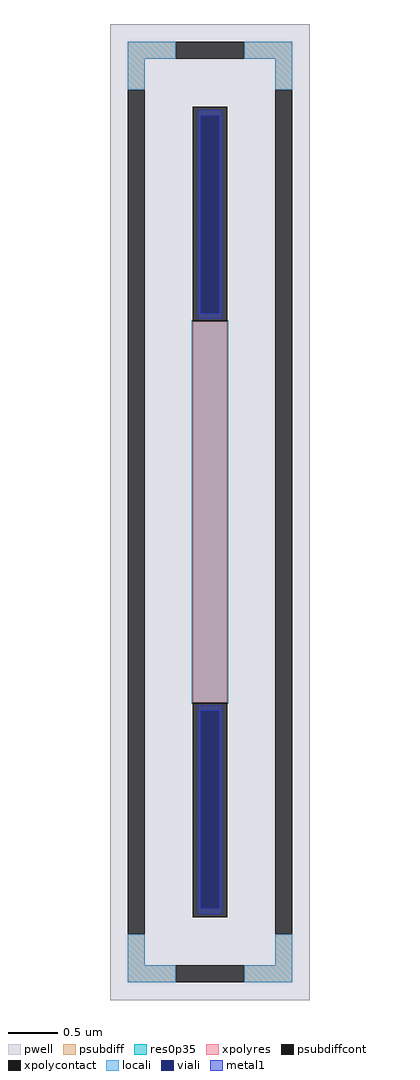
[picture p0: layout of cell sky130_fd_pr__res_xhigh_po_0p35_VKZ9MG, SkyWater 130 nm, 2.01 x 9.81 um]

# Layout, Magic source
magic
tech sky130A
magscale 1 2
<< pwell >>
rect -201 -981 201 981
<< psubdiff >>
rect -165 911 -69 945
rect 69 911 165 945
rect -165 849 -131 911
rect 131 849 165 911
rect -165 -911 -131 -849
rect 131 -911 165 -849
rect -165 -945 -69 -911
rect 69 -945 165 -911
<< psubdiffcont >>
rect -69 911 69 945
rect -165 -849 -131 849
rect 131 -849 165 849
rect -69 -945 69 -911
<< xpolycontact >>
rect -35 383 35 815
rect -35 -815 35 -383
<< xpolyres >>
rect -35 -383 35 383
<< locali >>
rect -165 911 -69 945
rect 69 911 165 945
rect -165 849 -131 911
rect 131 849 165 911
rect -165 -911 -131 -849
rect 131 -911 165 -849
rect -165 -945 -69 -911
rect 69 -945 165 -911
<< viali >>
rect -19 400 19 797
rect -19 -797 19 -400
<< metal1 >>
rect -25 797 25 809
rect -25 400 -19 797
rect 19 400 25 797
rect -25 388 25 400
rect -25 -400 25 -388
rect -25 -797 -19 -400
rect 19 -797 25 -400
rect -25 -809 25 -797
<< res0p35 >>
rect -37 -385 37 385
<< properties >>
string gencell sky130_fd_pr__res_xhigh_po_0p35
string FIXED_BBOX -148 -928 148 928
string parameters w 0.350 l 3.83 m 1 nx 1 wmin 0.350 lmin 0.50 rho 2000 val 22.571k dummy 0 dw 0.0 term 120 sterm 0.0 caplen 0 wmax 0.350 guard 1 glc 1 grc 1 gtc 1 gbc 1 compatible {sky130_fd_pr__res_xhigh_po_0p35  sky130_fd_pr__res_xhigh_po_0p69 sky130_fd_pr__res_xhigh_po_1p41  sky130_fd_pr__res_xhigh_po_2p85 sky130_fd_pr__res_xhigh_po_5p73} full_metal 1 vias 1 viagb 0 viagt 0 viagl 0 viagr 0
string library sky130
<< end >>
